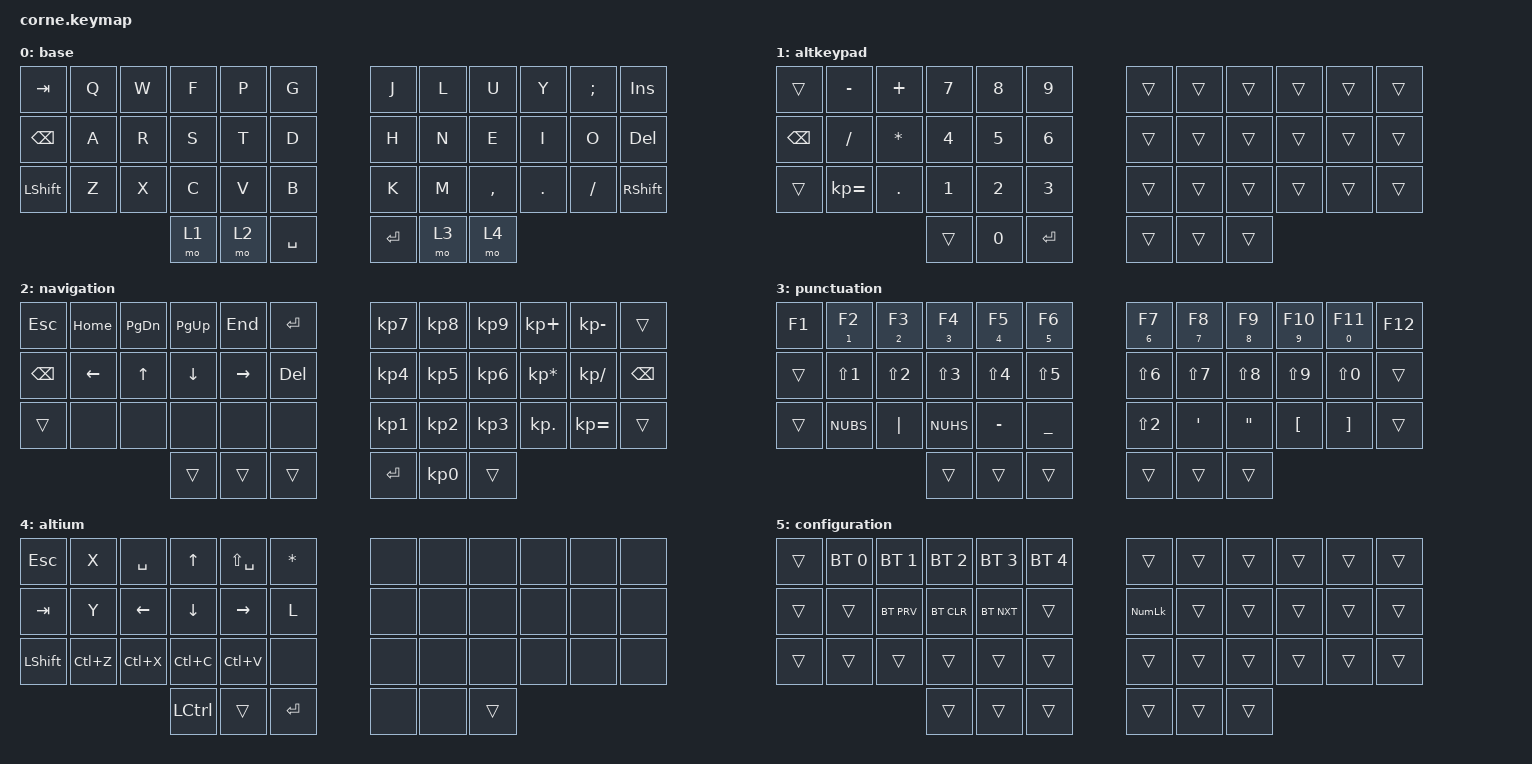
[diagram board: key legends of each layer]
/*
 * Copyright (c) 2020 The ZMK Contributors
 *
 * SPDX-License-Identifier: MIT
 */

#include <behaviors.dtsi>
#include <dt-bindings/zmk/bt.h>
#include <dt-bindings/zmk/keys.h>

// dt-formatter: indent = "  "
// dt-formatter: reindentMultilineIntegerCells = "dedent"

/ {
  behaviors {
    llayers: llayers {
      compatible = "zmk,behavior-tap-dance";
      label = "LLAYERS";
      #binding-cells = <0>;
      bindings = <&mo 5>, <&mo 1>, <&tog 5>;
    };
    rlayers: rlayers {
      compatible = "zmk,behavior-tap-dance";
      label = "RLAYERS";
      #binding-cells = <0>;
      bindings = <&mo 5>;
    };
    lmods: lmods {
      compatible = "zmk,behavior-tap-dance";
      label = "LMODS";
      #binding-cells = <0>;
      bindings = <&sk LCTRL>, <&sk LEFT_ALT>;
    };
    rmods: rmods {
      compatible = "zmk,behavior-tap-dance";
      label = "RMODS";
      #binding-cells = <0>;
      bindings = <&sk RCTRL>, <&sk LEFT_META>;
    };
  };

  combos {
    compatible = "zmk,combos";

    capslock {
      bindings = <&kp CAPS>;
      key-positions = <24 35>;
    };

    lctrl {
      bindings = <&sk LCTRL>;
      key-positions = <25 26>;
    };

    lmeta {
      bindings = <&sk LEFT_META>;
      key-positions = <26 27>;
    };

    lalt {
      bindings = <&sk LALT>;
      key-positions = <27 28>;
    };

    rctrl {
      bindings = <&sk RCTRL>;
      key-positions = <33 34>;
    };

    rmeta {
      bindings = <&sk RIGHT_META>;
      key-positions = <33 32>;
    };

    ralt {
      bindings = <&sk RIGHT_ALT>;
      key-positions = <32 31>;
    };

    l5 {
      bindings = <&sl 5>;
      key-positions = <36 40 41 37>;
    };
  };

  macros {
  };

  keymap {
    compatible = "zmk,keymap";

    base {
      bindings = <
&kp TAB         &kp Q  &kp W  &kp F  &kp P  &kp G        &kp J      &kp L  &kp U      &kp Y    &kp SEMI  &kp INS
&kp BACKSPACE   &kp A  &kp R  &kp S  &kp T  &kp D        &kp H      &kp N  &kp E      &kp I    &kp O     &kp DEL
&kp LEFT_SHIFT  &kp Z  &kp X  &kp C  &kp V  &kp B        &kp K      &kp M  &kp COMMA  &kp DOT  &kp FSLH  &kp RSHFT
                              &mo 1  &mo 2  &kp SPACE    &kp ENTER  &mo 3  &mo 4
      >;
    };

    altkeypad {
      bindings = <
&trans    &kp MINUS     &kp PLUS  &kp N7  &kp N8  &kp N9       &trans  &trans  &trans  &trans  &trans  &trans
&kp BSPC  &kp FSLH      &kp STAR  &kp N4  &kp N5  &kp N6       &trans  &trans  &trans  &trans  &trans  &trans
&trans    &kp KP_EQUAL  &kp DOT   &kp N1  &kp N2  &kp N3       &trans  &trans  &trans  &trans  &trans  &trans
                                  &trans  &kp N0  &kp ENTER    &trans  &trans  &trans
      >;

      label = "altkeypad";
    };

    navigation {
      bindings = <
&kp ESC   &kp HOME  &kp PAGE_DOWN  &kp PG_UP  &kp END    &kp ENTER    &kp KP_NUMBER_7  &kp KP_NUMBER_8  &kp KP_NUMBER_9  &kp KP_PLUS      &kp KP_MINUS   &trans
&kp BSPC  &kp LEFT  &kp UP         &kp DOWN   &kp RIGHT  &kp DEL      &kp KP_NUMBER_4  &kp KP_NUMBER_5  &kp KP_NUMBER_6  &kp KP_MULTIPLY  &kp KP_DIVIDE  &kp BACKSPACE
&trans    &none     &none          &none      &none      &none        &kp KP_NUMBER_1  &kp KP_NUMBER_2  &kp KP_NUMBER_3  &kp KP_DOT       &kp KP_EQUAL   &trans
                                   &trans     &trans     &trans       &kp ENTER        &kp KP_N0        &trans
      >;

      label = "navigation";
    };

    punctuation {
      bindings = <
&kp F1  &mt N1 F2   &mt N2 F3   &mt N3 F4   &mt N4 F5   &mt N5 F6     &mt N6 F7         &mt N7 F8         &mt N8 F9          &mt N9 F10        &mt N0 F11         &kp F12
&trans  &kp LS(N1)  &kp LS(N2)  &kp LS(N3)  &kp LS(N4)  &kp LS(N5)    &kp LS(N6)        &kp LS(N7)        &kp LS(N8)         &kp LS(N9)        &kp LS(N0)         &trans
&trans  &kp NUBS    &kp PIPE    &kp NUHS    &kp MINUS   &kp UNDER     &kp LS(NUMBER_2)  &kp SINGLE_QUOTE  &kp DOUBLE_QUOTES  &kp LEFT_BRACKET  &kp RIGHT_BRACKET  &trans
                                &trans      &trans      &trans        &trans            &trans            &trans
      >;

      label = "punctuation";
    };

    altium {
      bindings = <
&kp ESC         &kp X      &kp SPACE  &kp UP            &kp LS(SPACE)  &kp STAR    &none  &none  &none   &none  &none  &none
&kp TAB         &kp Y      &kp LEFT   &kp DOWN          &kp RIGHT      &kp L       &none  &none  &none   &none  &none  &none
&kp LEFT_SHIFT  &kp LC(Z)  &kp LC(X)  &kp LC(C)         &kp LC(V)      &none       &none  &none  &none   &none  &none  &none
                                      &kp LEFT_CONTROL  &trans         &kp RET     &none  &none  &trans
      >;

      label = "altium";
    };

    configuration {
      bindings = <
&trans  &bt BT_SEL 0  &bt BT_SEL 1  &bt BT_SEL 2  &bt BT_SEL 3  &bt BT_SEL 4    &trans          &trans  &trans  &trans  &trans  &trans
&trans  &trans        &bt BT_PRV    &bt BT_CLR    &bt BT_NXT    &trans          &kp KP_NUMLOCK  &trans  &trans  &trans  &trans  &trans
&trans  &trans        &trans        &trans        &trans        &trans          &trans          &trans  &trans  &trans  &trans  &trans
                                    &trans        &trans        &trans          &trans          &trans  &trans
      >;

      label = "configuration";
    };
  };
};
